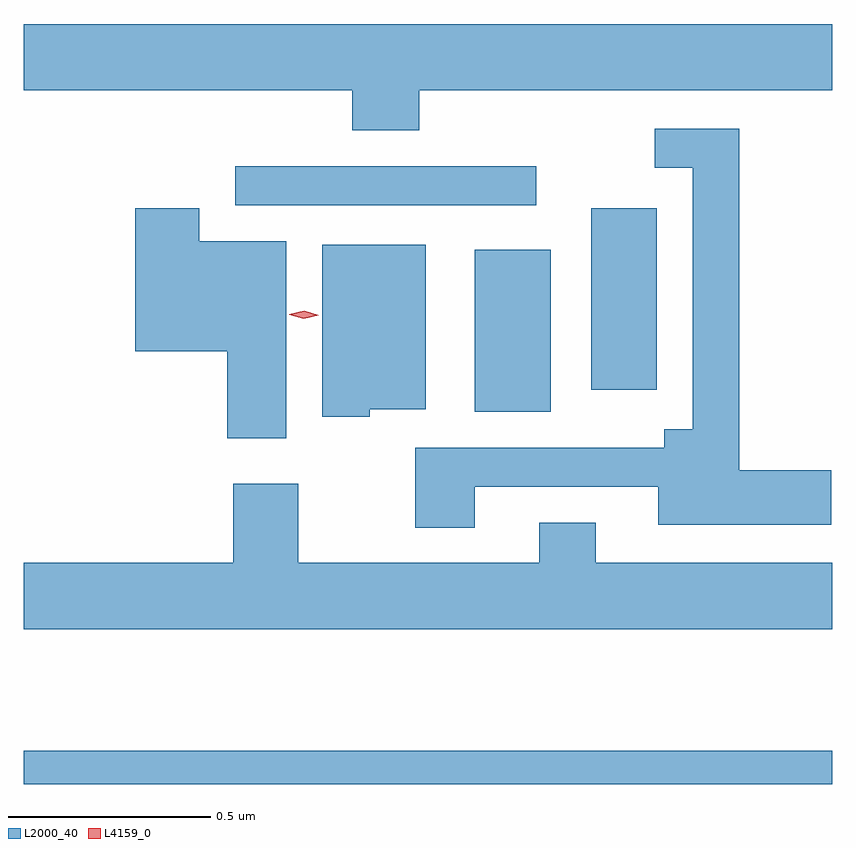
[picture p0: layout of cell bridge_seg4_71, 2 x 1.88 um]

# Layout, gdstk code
import gdstk
lib = gdstk.Library(unit=1e-6, precision=1e-09)
def R(c, l, rs):  # rectangles x0, y0, x1, y1
    for r in rs: c.add(gdstk.rectangle(r[:2], r[2:], *l))
def P(c, l, *ps):  # polygons
    for p in ps: c.add(gdstk.Polygon(p, *l))
L2000_40 = (2000, 40)
L4159_0 = (4159, 0)

bridge_seg4_71 = lib.new_cell('bridge_seg4_71')
R(bridge_seg4_71, L2000_40, [(759.806,780.453,761.806,780.535), (760.922,781.373,761.11,781.774), (761.21,781.428,761.371,781.876), (760.329,781.884,761.074,781.98)])
P(bridge_seg4_71, L2000_40, [(760.784,782.168),(761.806,782.168),(761.806,782.332),(759.806,782.332),(759.806,782.168),(760.619,782.168),(760.619,782.069),(760.784,782.069)],
  [(760.921,781.188),(761.375,781.188),(761.375,781.094),(761.803,781.094),(761.803,781.229),(761.576,781.229),(761.576,782.073),(761.367,782.073),(761.367,781.977),(761.46,781.977),(761.46,781.33),(761.39,781.33),(761.39,781.284),(760.774,781.284),(760.774,781.086),(760.921,781.086)],
  [(760.456,781.795),(760.24,781.795),(760.24,781.876),(760.082,781.876),(760.082,781.523),(760.31,781.523),(760.31,781.308),(760.456,781.308)],
  [(760.662,781.379),(760.801,781.379),(760.801,781.786),(760.544,781.786),(760.544,781.361),(760.662,781.361)],
  [(761.806,781),(761.221,781),(761.221,781.099),(761.081,781.099),(761.081,781),(760.485,781),(760.485,781.195),(760.325,781.195),(760.325,781),(759.806,781),(759.806,780.836),(761.806,780.836)])
P(bridge_seg4_71, L4159_0, [(760.499,781.603),(760.463,781.613),(760.463,781.613),(760.463,781.614),(760.5,781.623),(760.536,781.612),(760.536,781.612),(760.536,781.612)])

lib.write_gds('bridge_seg4_71.gds')
